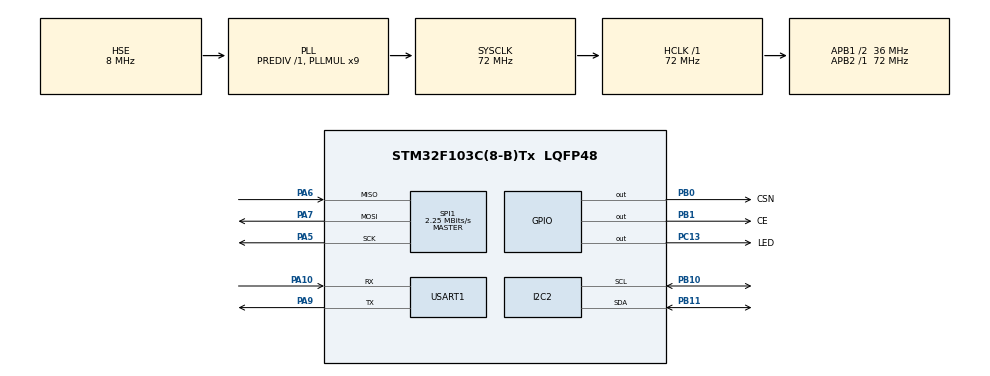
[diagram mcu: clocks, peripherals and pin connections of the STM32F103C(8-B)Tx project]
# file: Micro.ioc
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Mcu.Family=STM32F1
Mcu.Name=STM32F103C(8-B)Tx
Mcu.Package=LQFP48
NVIC.PriorityGroup=NVIC_PRIORITYGROUP_4
PA10.Mode=Asynchronous
PA10.Signal=USART1_RX
PA13.Mode=Serial_Wire
PA13.Signal=SYS_JTMS-SWDIO
PA14.Mode=Serial_Wire
PA14.Signal=SYS_JTCK-SWCLK
PA5.Mode=Full_Duplex_Master
PA5.Signal=SPI1_SCK
PA6.Mode=Full_Duplex_Master
PA6.Signal=SPI1_MISO
PA7.Mode=Full_Duplex_Master
PA7.Signal=SPI1_MOSI
PA9.Mode=Asynchronous
PA9.Signal=USART1_TX
PB0.GPIO_Label=CSN
PB0.Signal=GPIO_Output
PB1.GPIO_Label=CE
PB1.Signal=GPIO_Output
PB10.Mode=I2C
PB10.Signal=I2C2_SCL
PB11.Mode=I2C
PB11.Signal=I2C2_SDA
PC13-TAMPER-RTC.GPIO_Label=LED
PC13-TAMPER-RTC.Signal=GPIO_Output
PD0-OSC_IN.Mode=HSE-External-Oscillator
PD0-OSC_IN.Signal=RCC_OSC_IN
PD1-OSC_OUT.Mode=HSE-External-Oscillator
PD1-OSC_OUT.Signal=RCC_OSC_OUT
ProjectManager.HeapSize=0x200
ProjectManager.StackSize=0x400
ProjectManager.TargetToolchain=STM32CubeIDE
RCC.AHBFreq_Value=72000000
RCC.APB1CLKDivider=RCC_HCLK_DIV2
RCC.APB1Freq_Value=36000000
RCC.APB1TimFreq_Value=72000000
RCC.APB2Freq_Value=72000000
RCC.APB2TimFreq_Value=72000000
RCC.HCLKFreq_Value=72000000
RCC.PLLMUL=RCC_PLL_MUL9
RCC.PLLSourceVirtual=RCC_PLLSOURCE_HSE
RCC.SYSCLKFreq_VALUE=72000000
RCC.SYSCLKSource=RCC_SYSCLKSOURCE_PLLCLK
RCC.USBFreq_Value=72000000
SPI1.BaudRatePrescaler=SPI_BAUDRATEPRESCALER_32
SPI1.CalculateBaudRate=2.25 MBits/s
SPI1.Direction=SPI_DIRECTION_2LINES
SPI1.Mode=SPI_MODE_MASTER
SPI1.VirtualType=VM_MASTER
USART1.VirtualMode=VM_ASYNC
board=custom

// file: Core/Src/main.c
/* USER CODE BEGIN Header */
/**
  ******************************************************************************
  * @file           : main.c
  * @brief          : Main program body
  ******************************************************************************
  * @attention
  *
  * <h2><center>&copy; Copyright (c) 2020 STMicroelectronics.
  * All rights reserved.</center></h2>
  *
  * This software component is licensed by ST under BSD 3-Clause license,
  * the "License"; You may not use this file except in compliance with the
  * License. You may obtain a copy of the License at:
  *                        opensource.org/licenses/BSD-3-Clause
  *
  ******************************************************************************
  */
/* USER CODE END Header */

#include "main.h"

/* USER CODE BEGIN Includes */
#include "MY_NRF24.h"
#include "TJ_MPU6050.h"
/* USER CODE END Includes */

I2C_HandleTypeDef hi2c2;

SPI_HandleTypeDef hspi1;

UART_HandleTypeDef huart1;

void SystemClock_Config(void);
static void MX_GPIO_Init(void);
static void MX_I2C2_Init(void);
static void MX_SPI1_Init(void);
static void MX_USART1_UART_Init(void);

/* USER CODE BEGIN 0 */
uint64_t PipeAddres = 0x11223344AA;
/* USER CODE END 0 */

int main(void)
{
  /* USER CODE BEGIN 1 */
	MPU_ConfigTypeDef MpuConfig;
	RawData_Def AccelData, GyroData;
	ScaledData_Def AccelScaled, GyroScaled;
	char Msg[32] = "HI";
  /* USER CODE END 1 */

  /* MCU Configuration--------------------------------------------------------*/

  /* Reset of all peripherals, Initializes the Flash interface and the Systick. */
  HAL_Init();

  /* Configure the system clock */
  SystemClock_Config();

  /* Initialize all configured peripherals */
  MX_GPIO_Init();
  MX_I2C2_Init();
  MX_SPI1_Init();
  MX_USART1_UART_Init();
  /* USER CODE BEGIN 2 */

  NRF24_begin(CSN_GPIO_Port, CSN_Pin, CE_Pin, hspi1);

  NRF24_stopListening();
  NRF24_openWritingPipe(PipeAddres);
  NRF24_setAutoAck(false);
  NRF24_setChannel(52);
  NRF24_setPayloadSize(16);
  /* USER CODE END 2 */

  /* Infinite loop */
  /* USER CODE BEGIN WHILE */
  while (1)
  {
	  if (HAL_I2C_IsDeviceReady(&hi2c2, MPU_ADDR, 3, 1000) != HAL_OK) {
		  HAL_GPIO_TogglePin(LED_GPIO_Port, LED_Pin);	// Error

	  	  }
	  if (NRF24_write(Msg, 32)){

	  	  }

	  HAL_Delay(1000);
    /* USER CODE END WHILE */

  }
}

void SystemClock_Config(void)
{
  RCC_OscInitTypeDef RCC_OscInitStruct = {0};
  RCC_ClkInitTypeDef RCC_ClkInitStruct = {0};

  /** Initializes the CPU, AHB and APB busses clocks
  */
  RCC_OscInitStruct.OscillatorType = RCC_OSCILLATORTYPE_HSE;
  RCC_OscInitStruct.HSEState = RCC_HSE_ON;
  RCC_OscInitStruct.HSEPredivValue = RCC_HSE_PREDIV_DIV1;
  RCC_OscInitStruct.HSIState = RCC_HSI_ON;
  RCC_OscInitStruct.PLL.PLLState = RCC_PLL_ON;
  RCC_OscInitStruct.PLL.PLLSource = RCC_PLLSOURCE_HSE;
  RCC_OscInitStruct.PLL.PLLMUL = RCC_PLL_MUL9;
  if (HAL_RCC_OscConfig(&RCC_OscInitStruct) != HAL_OK)
  {
    Error_Handler();
  }
  /** Initializes the CPU, AHB and APB busses clocks
  */
  RCC_ClkInitStruct.ClockType = RCC_CLOCKTYPE_HCLK|RCC_CLOCKTYPE_SYSCLK
                              |RCC_CLOCKTYPE_PCLK1|RCC_CLOCKTYPE_PCLK2;
  RCC_ClkInitStruct.SYSCLKSource = RCC_SYSCLKSOURCE_PLLCLK;
  RCC_ClkInitStruct.AHBCLKDivider = RCC_SYSCLK_DIV1;
  RCC_ClkInitStruct.APB1CLKDivider = RCC_HCLK_DIV2;
  RCC_ClkInitStruct.APB2CLKDivider = RCC_HCLK_DIV1;

  if (HAL_RCC_ClockConfig(&RCC_ClkInitStruct, FLASH_LATENCY_2) != HAL_OK)
  {
    Error_Handler();
  }
}

static void MX_I2C2_Init(void)
{

  hi2c2.Instance = I2C2;
  hi2c2.Init.ClockSpeed = 100000;
  hi2c2.Init.DutyCycle = I2C_DUTYCYCLE_2;
  hi2c2.Init.OwnAddress1 = 0;
  hi2c2.Init.AddressingMode = I2C_ADDRESSINGMODE_7BIT;
  hi2c2.Init.DualAddressMode = I2C_DUALADDRESS_DISABLE;
  hi2c2.Init.OwnAddress2 = 0;
  hi2c2.Init.GeneralCallMode = I2C_GENERALCALL_DISABLE;
  hi2c2.Init.NoStretchMode = I2C_NOSTRETCH_DISABLE;
  if (HAL_I2C_Init(&hi2c2) != HAL_OK)
  {
    Error_Handler();
  }

}

static void MX_SPI1_Init(void)
{

  /* SPI1 parameter configuration*/
  hspi1.Instance = SPI1;
  hspi1.Init.Mode = SPI_MODE_MASTER;
  hspi1.Init.Direction = SPI_DIRECTION_2LINES;
  hspi1.Init.DataSize = SPI_DATASIZE_8BIT;
  hspi1.Init.CLKPolarity = SPI_POLARITY_LOW;
  hspi1.Init.CLKPhase = SPI_PHASE_1EDGE;
  hspi1.Init.NSS = SPI_NSS_SOFT;
  hspi1.Init.BaudRatePrescaler = SPI_BAUDRATEPRESCALER_32;
  hspi1.Init.FirstBit = SPI_FIRSTBIT_MSB;
  hspi1.Init.TIMode = SPI_TIMODE_DISABLE;
  hspi1.Init.CRCCalculation = SPI_CRCCALCULATION_DISABLE;
  hspi1.Init.CRCPolynomial = 10;
  if (HAL_SPI_Init(&hspi1) != HAL_OK)
  {
    Error_Handler();
  }

}

static void MX_USART1_UART_Init(void)
{

  huart1.Instance = USART1;
  huart1.Init.BaudRate = 115200;
  huart1.Init.WordLength = UART_WORDLENGTH_8B;
  huart1.Init.StopBits = UART_STOPBITS_1;
  huart1.Init.Parity = UART_PARITY_NONE;
  huart1.Init.Mode = UART_MODE_TX_RX;
  huart1.Init.HwFlowCtl = UART_HWCONTROL_NONE;
  huart1.Init.OverSampling = UART_OVERSAMPLING_16;
  if (HAL_UART_Init(&huart1) != HAL_OK)
  {
    Error_Handler();
  }

}

static void MX_GPIO_Init(void)
{
  GPIO_InitTypeDef GPIO_InitStruct = {0};

  /* GPIO Ports Clock Enable */
  __HAL_RCC_GPIOC_CLK_ENABLE();
  __HAL_RCC_GPIOD_CLK_ENABLE();
  __HAL_RCC_GPIOA_CLK_ENABLE();
  __HAL_RCC_GPIOB_CLK_ENABLE();

  /*Configure GPIO pin Output Level */
  HAL_GPIO_WritePin(LED_GPIO_Port, LED_Pin, GPIO_PIN_RESET);

  /*Configure GPIO pin Output Level */
  HAL_GPIO_WritePin(GPIOB, CSN_Pin|CE_Pin, GPIO_PIN_RESET);

  /*Configure GPIO pin : LED_Pin */
  GPIO_InitStruct.Pin = LED_Pin;
  GPIO_InitStruct.Mode = GPIO_MODE_OUTPUT_PP;
  GPIO_InitStruct.Pull = GPIO_NOPULL;
  GPIO_InitStruct.Speed = GPIO_SPEED_FREQ_LOW;
  HAL_GPIO_Init(LED_GPIO_Port, &GPIO_InitStruct);

  /*Configure GPIO pins : CSN_Pin CE_Pin */
  GPIO_InitStruct.Pin = CSN_Pin|CE_Pin;
  GPIO_InitStruct.Mode = GPIO_MODE_OUTPUT_PP;
  GPIO_InitStruct.Pull = GPIO_NOPULL;
  GPIO_InitStruct.Speed = GPIO_SPEED_FREQ_LOW;
  HAL_GPIO_Init(GPIOB, &GPIO_InitStruct);

}

void Error_Handler(void)
{
}

/************************ (C) COPYRIGHT STMicroelectronics *****END OF FILE****/
